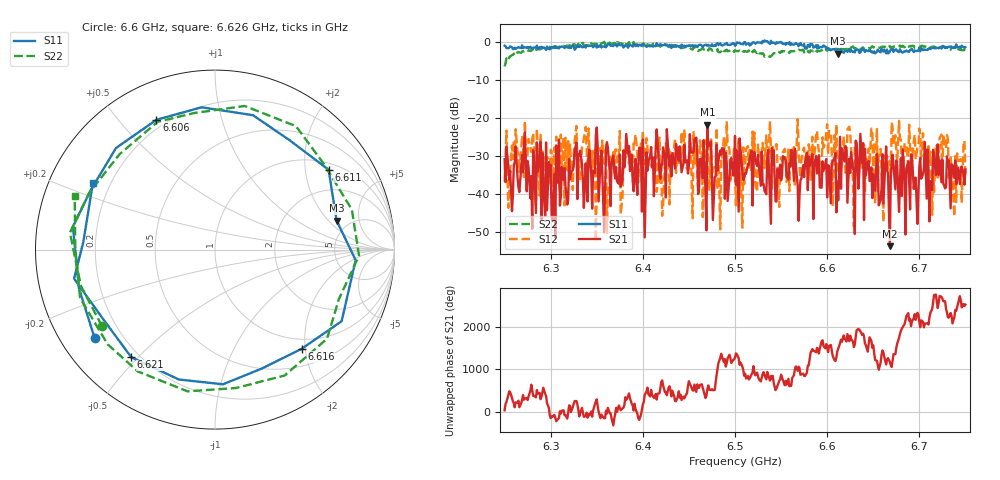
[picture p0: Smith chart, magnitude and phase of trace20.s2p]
# Hz S RI R 50
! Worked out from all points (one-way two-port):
!   401 points, 6.25 GHz to 6.75 GHz, reference 50 ohm
!   highest |S21| = -21.77 dB at 6.47 GHz (marker M1); lowest = -53.6 dB at 6.668 GHz (marker M2)
!   lowest |S11| = -3.1 dB at 6.612 GHz (marker M3), VSWR 5.59, Z = 198 + j124 ohm
!   |S11| at or under -10 dB: nowhere
!   |S22| runs from -6.5 to -0.1 dB; largest |S21 - S12| = 0.13
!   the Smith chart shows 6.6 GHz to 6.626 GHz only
!   S11 on the Smith chart (normalised r, x): 6.6 GHz: 0.10, -0.32; 6.606 GHz: 0.16, +0.63; 6.611 GHz: 1.21, +2.67; 6.616 GHz: 0.81, -1.93; 6.621 GHz: 0.17, -0.48; 6.626 GHz: 0.13, +0.25
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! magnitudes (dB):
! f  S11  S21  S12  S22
! 6.25 GHz  -1.1  -30.8  -36.7  -6.5
! 6.298 GHz  -1.9  -31.6  -31.1  -1.9
! 6.302 GHz  -1.4  -47.1  -37.8  -1.4
! 6.334 GHz  -1.5  -32.2  -27.7  -0.4
! 6.35 GHz  -1.6  -22.5  -38.3  -0.6
! 6.355 GHz  -1.5  -28.6  -32.5  -0.5
! 6.372 GHz  -1.3  -36.6  -31.7  -0.1
! 6.379 GHz  -1.6  -28.5  -29.7  -1.0
! 6.402 GHz  -1.0  -51.3  -32.1  -0.9
! 6.418 GHz  -0.9  -34.2  -25.2  -1.1
! 6.47 GHz  -1.1  -21.8  -28.4  -2.0
! 6.5 GHz  -1.1  -24.7  -35.1  -2.3
! 6.584 GHz  -0.7  -29.4  -25.0  -2.4
! 6.6 GHz  -1.6  -40.8  -21.7  -2.4
! 6.606 GHz  -2.0  -31.3  -43.2  -2.2
! 6.611 GHz  -2.2  -36.7  -34.5  -2.2
! 6.612 GHz  -3.1  -41.6  -32.2  -2.0
! 6.616 GHz  -2.7  -28.0  -32.7  -2.0
! 6.621 GHz  -2.4  -28.9  -32.6  -1.9
! 6.626 GHz  -2.2  -29.0  -28.1  -1.5
! 6.668 GHz  -2.6  -53.6  -31.2  -1.2
! 6.75 GHz  -1.5  -33.5  -35.5  -2.2
